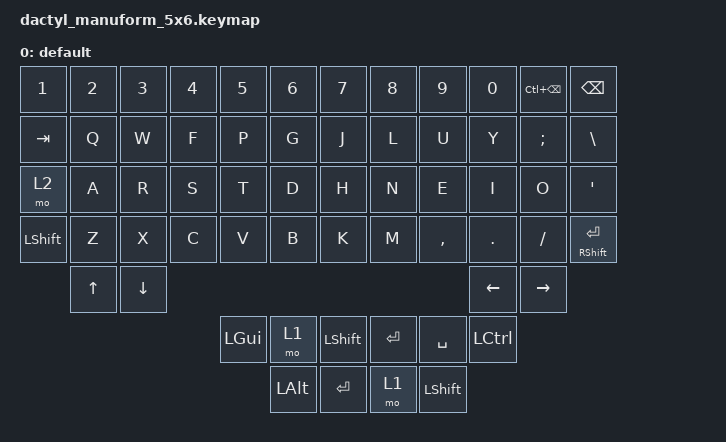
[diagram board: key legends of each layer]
#include <behaviors.dtsi>
#include <dt-bindings/zmk/keys.h>
#include <dt-bindings/zmk/bt.h>
#include <dt-bindings/zmk/outputs.h>

#define DEFAULT 0


/ {


    keymap {
        compatible = "zmk,keymap";

        default_layer {
            display-name = "default";
// ------------------------------------------------------------------------------------------------------------
// |   `   |  1  |  2  |  3   |  4   |  5   |                   |  6   |  7    |  8    |  9   |   0   |       |
// |  ESC  |  Q  |  W  |  E   |  R   |  T   |                   |  Y   |  U    |  I    |  O   |   P   | BKSPC |
// |  TAB  |  A  |  S  |  D   |  F   |  G   |                   |  H   |  J    |  K    |  L   |   ;   |   '   |
// | SHIFT |  Z  |  X  |  C   |  V   |  B   |  MUTE  |  |       |  N   |  M    |  ,    |  .   |   /   | SHIFT |
//               | GUI | ALT  | CTRL | LOWER|  ENTER |  | SPACE | RAISE| CTRL  | ALT   | GUI  |
            bindings = <
&kp N1      &kp N2     &kp N3  &kp N4    &kp N5    &kp N6  &kp N7     &kp N8           &kp N9        &kp N0          &kp LC(BACKSPACE)  &kp BACKSPACE
&kp TAB     &kp Q      &kp W   &kp F     &kp P     &kp G   &kp J      &kp L            &kp U         &kp Y           &kp SEMI           &kp BSLH
&mo 2       &kp A      &kp R   &kp S     &kp T     &kp D   &kp H      &kp N            &kp E         &kp I           &kp O              &kp SQT
&kp LSHIFT  &kp Z      &kp X   &kp C     &kp V     &kp B   &kp K      &kp M            &kp COMMA     &kp DOT         &kp FSLH           &mt RSHFT RET
                 &kp UP &kp DOWN                                                                   &kp LEFT  &kp RIGHT
                                       &kp LGUI &mo 1 &kp LSHIFT       &kp RET  &kp SPACE  &kp LCTRL
                                                &kp LALT  &kp RET    &mo 1  &kp LSHIFT
            >;
        };

    };
};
